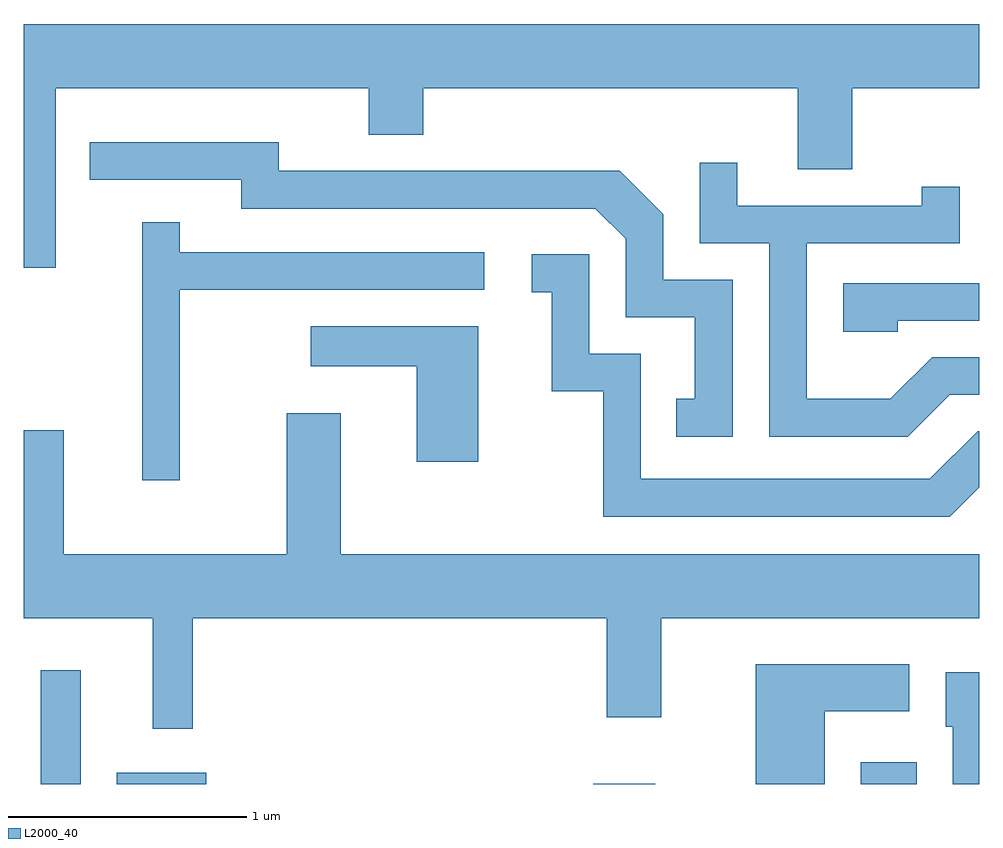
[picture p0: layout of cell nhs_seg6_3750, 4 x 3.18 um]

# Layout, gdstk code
import gdstk
lib = gdstk.Library(unit=1e-6, precision=1e-09)
def R(c, l, rs):  # rectangles x0, y0, x1, y1
    for r in rs: c.add(gdstk.rectangle(r[:2], r[2:], *l))
def P(c, l, *ps):  # polygons
    for p in ps: c.add(gdstk.Polygon(p, *l))
L2000_40 = (2000, 40)

nhs_seg6_3750 = lib.new_cell('nhs_seg6_3750')
R(nhs_seg6_3750, L2000_40, [(297.681,1618.162,297.849,1618.638), (298.001,1618.162,298.374,1618.209), (299.996,1618.162,300.254,1618.164), (301.116,1618.162,301.349,1618.254)])
P(nhs_seg6_3750, L2000_40, [(297.744,1621.076),(299.056,1621.076),(299.056,1620.881),(299.284,1620.881),(299.284,1621.076),(300.851,1621.076),(300.851,1620.736),(301.079,1620.736),(301.079,1621.076),(301.611,1621.076),(301.611,1621.344),(297.611,1621.344),(297.611,1620.323),(297.744,1620.323)],
  [(300.579,1620.274),(300.289,1620.274),(300.289,1620.547),(300.107,1620.729),(298.679,1620.729),(298.679,1620.849),(297.888,1620.849),(297.888,1620.691),(298.521,1620.691),(298.521,1620.571),(300.004,1620.571),(300.131,1620.444),(300.131,1620.116),(300.421,1620.116),(300.421,1619.774),(300.343,1619.774),(300.343,1619.616),(300.579,1619.616)],
  [(301.487,1619.791),(301.611,1619.791),(301.611,1619.949),(301.414,1619.949),(301.239,1619.774),(300.889,1619.774),(300.889,1620.426),(301.529,1620.426),(301.529,1620.663),(301.371,1620.663),(301.371,1620.584),(300.599,1620.584),(300.599,1620.763),(300.441,1620.763),(300.441,1620.426),(300.731,1620.426),(300.731,1619.616),(301.312,1619.616)],
  [(298.264,1620.231),(299.538,1620.231),(299.538,1620.389),(298.264,1620.389),(298.264,1620.513),(298.106,1620.513),(298.106,1619.433),(298.264,1619.433)],
  [(301.611,1619.405),(301.611,1619.639),(301.604,1619.639),(301.404,1619.439),(300.194,1619.439),(300.194,1619.964),(299.979,1619.964),(299.979,1620.379),(299.738,1620.379),(299.738,1620.221),(299.821,1620.221),(299.821,1619.806),(300.036,1619.806),(300.036,1619.281),(301.487,1619.281)],
  [(301.269,1620.101),(301.611,1620.101),(301.611,1620.259),(301.041,1620.259),(301.041,1620.056),(301.269,1620.056)],
  [(299.514,1620.079),(298.813,1620.079),(298.813,1619.911),(299.256,1619.911),(299.256,1619.511),(299.514,1619.511)],
  [(298.319,1618.856),(300.051,1618.856),(300.051,1618.441),(300.279,1618.441),(300.279,1618.856),(301.611,1618.856),(301.611,1619.124),(298.939,1619.124),(298.939,1619.714),(298.711,1619.714),(298.711,1619.124),(297.779,1619.124),(297.779,1619.644),(297.611,1619.644),(297.611,1618.856),(298.151,1618.856),(298.151,1618.393),(298.319,1618.393)],
  [(300.964,1618.466),(301.319,1618.466),(301.319,1618.664),(300.676,1618.664),(300.676,1618.162),(300.964,1618.162)],
  [(301.611,1618.629),(301.471,1618.629),(301.471,1618.401),(301.501,1618.401),(301.501,1618.162),(301.611,1618.162)])

lib.write_gds('nhs_seg6_3750.gds')
